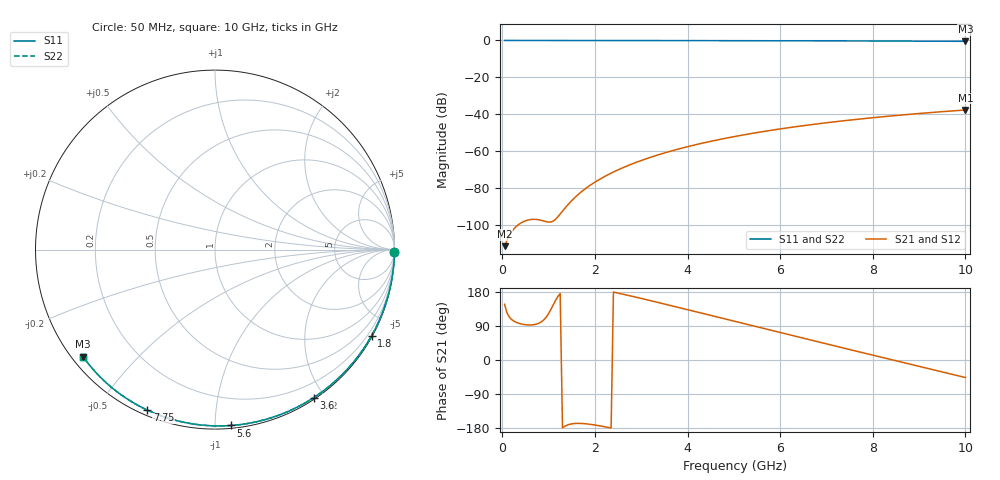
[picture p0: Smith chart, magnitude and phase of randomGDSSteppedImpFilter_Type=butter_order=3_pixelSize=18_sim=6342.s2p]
! freq	dB(S11)	phase(S11)	dB(S12)	phase(S12)
!  dB(S21)	phase(S21)	dB(S22)	phase(S22)
!S-par simulation data
#  GHz  S  DB  R 50
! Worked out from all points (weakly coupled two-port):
!   200 points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, 50 MHz to 10 GHz, reference 50 ohm
!   highest |S21| = -37.74 dB at 10 GHz (marker M1); lowest = -111.6 dB at 50 MHz (marker M2)
!   lowest |S11| = -0.5 dB at 10 GHz (marker M3), VSWR 36.57, Z = 1.54 - j17.7 ohm
!   |S11| at or under -10 dB: nowhere
!   |S22| runs from -0.5 to 0.0 dB; largest |S21 - S12| = 0
!   S11 on the Smith chart (normalised r, x): 50 MHz: open; 1.8 GHz: 0.03, -3.88; 3.6 GHz: 0.02, -1.87; 5.6 GHz: 0.02, -1.10; 7.75 GHz: 0.02, -0.66; 10 GHz: 0.03, -0.35
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0.05  -0.00 -0.8  -111.61 146.9  -111.61 146.9  -0.00 -0.8
0.45  -0.01 -7.3  -98.39 94.0  -98.39 94.0  -0.01 -7.3
0.9  -0.02 -14.6  -97.98 106.4  -97.98 106.4  -0.02 -14.6
1.75  -0.04 -28.1  -81.26 -167.8  -81.26 -167.8  -0.04 -28.1
1.8  -0.04 -28.9  -80.30 -168.3  -80.30 -168.3  -0.04 -28.9
1.85  -0.04 -29.7  -79.39 -169.0  -79.39 -169.0  -0.04 -29.7
2  -0.04 -32.0  -76.88 -171.5  -76.88 -171.5  -0.04 -32.0
2.15  -0.04 -34.4  -74.64 -174.7  -74.64 -174.7  -0.04 -34.4
2.35  -0.05 -37.5  -71.98 -179.5  -71.98 -179.5  -0.05 -37.5
2.55  -0.05 -40.5  -69.62 175.2  -69.62 175.2  -0.05 -40.5
2.95  -0.06 -46.6  -65.58 164.0  -65.58 164.0  -0.06 -46.6
3.4  -0.07 -53.4  -61.80 150.8  -61.80 150.8  -0.07 -53.4
3.6  -0.08 -56.4  -60.32 144.8  -60.32 144.8  -0.08 -56.4
4.3  -0.09 -66.6  -55.84 123.7  -55.84 123.7  -0.09 -66.6
5.05  -0.12 -77.2  -51.96 101.0  -51.96 101.0  -0.12 -77.2
5.6  -0.14 -84.7  -49.56 84.3  -49.56 84.3  -0.14 -84.7
6.15  -0.16 -92.1  -47.45 67.8  -47.45 67.8  -0.16 -92.1
6.7  -0.19 -99.4  -45.58 51.3  -45.58 51.3  -0.19 -99.4
7.75  -0.26 -112.8  -42.55 20.3  -42.55 20.3  -0.26 -112.8
8.35  -0.31 -120.4  -41.07 2.6  -41.07 2.6  -0.31 -120.4
9.2  -0.39 -131.0  -39.22 -22.4  -39.22 -22.4  -0.39 -131.0
10  -0.48 -141.0  -37.74 -46.2  -37.74 -46.2  -0.48 -141.0
